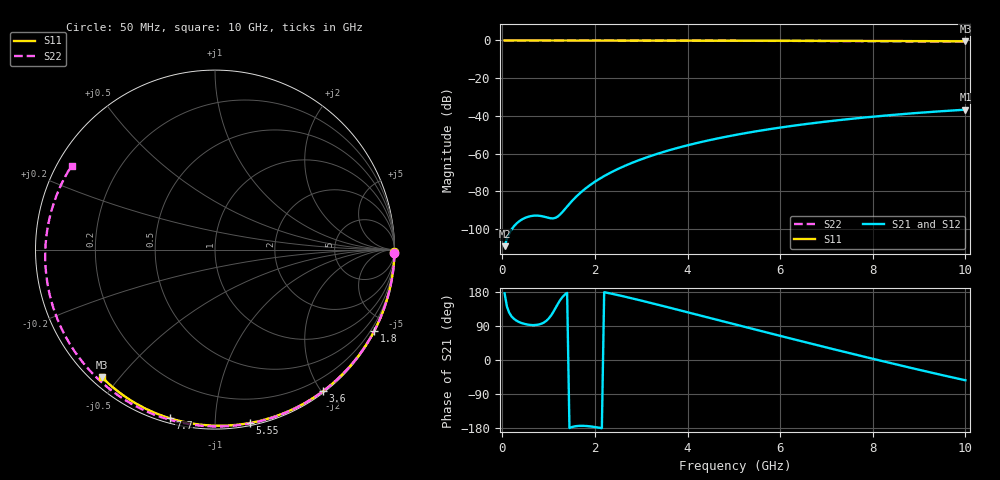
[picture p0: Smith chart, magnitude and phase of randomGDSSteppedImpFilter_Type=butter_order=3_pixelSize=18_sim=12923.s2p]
! freq	dB(S11)	phase(S11)	dB(S12)	phase(S12)
!  dB(S21)	phase(S21)	dB(S22)	phase(S22)
!S-par simulation data
#  GHz  S  DB  R 50
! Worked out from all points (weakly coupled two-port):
!   200 points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, 50 MHz to 10 GHz, reference 50 ohm
!   highest |S21| = -36.70 dB at 10 GHz (marker M1); lowest = -109.1 dB at 50 MHz (marker M2)
!   lowest |S11| = -0.4 dB at 10 GHz (marker M3), VSWR 39.01, Z = 1.54 - j22.5 ohm
!   |S11| at or under -10 dB: nowhere
!   |S22| runs from -0.7 to 0.0 dB; largest |S21 - S12| = 0
!   S11 on the Smith chart (normalised r, x): 50 MHz: open; 1.8 GHz: 0.04, -4.18; 3.6 GHz: 0.02, -2.02; 5.55 GHz: 0.02, -1.22; 7.7 GHz: 0.02, -0.77; 10 GHz: 0.03, -0.45
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0.05  -0.00 -0.8  -109.08 175.9  -109.08 175.9  -0.00 -1.1
0.45  -0.01 -6.8  -94.57 96.2  -94.57 96.2  -0.01 -10.0
0.85  -0.02 -12.8  -93.14 95.9  -93.14 95.9  -0.02 -18.8
1.7  -0.03 -25.5  -80.48 -173.7  -80.48 -173.7  -0.05 -37.3
1.75  -0.03 -26.2  -79.44 -173.8  -79.44 -173.8  -0.05 -38.3
1.8  -0.03 -26.9  -78.45 -174.1  -78.45 -174.1  -0.05 -39.4
2.1  -0.04 -31.3  -73.36 -178.8  -73.36 -178.8  -0.06 -45.8
2.5  -0.05 -37.1  -68.11 171.2  -68.11 171.2  -0.07 -54.2
2.9  -0.06 -42.8  -63.94 159.8  -63.94 159.8  -0.08 -62.5
3.4  -0.07 -49.9  -59.71 144.6  -59.71 144.6  -0.10 -72.7
3.6  -0.07 -52.7  -58.24 138.5  -58.24 138.5  -0.10 -76.7
4.3  -0.09 -62.2  -53.82 116.6  -53.82 116.6  -0.13 -90.7
5.05  -0.11 -72.2  -50.02 93.2  -50.02 93.2  -0.16 -105.3
5.55  -0.13 -78.7  -47.89 77.6  -47.89 77.6  -0.19 -114.9
6.1  -0.15 -85.6  -45.84 60.6  -45.84 60.6  -0.23 -125.5
6.7  -0.18 -93.1  -43.88 42.2  -43.88 42.2  -0.27 -137.2
7.7  -0.24 -105.1  -41.14 12.1  -41.14 12.1  -0.36 -157.2
8.35  -0.29 -112.7  -39.66 -7.1  -39.66 -7.1  -0.44 -170.9
8.8  -0.33 -117.8  -38.74 -20.1  -38.74 -20.1  -0.49 179.1
9.2  -0.36 -122.4  -38.00 -31.5  -38.00 -31.5  -0.55 169.8
9.6  -0.40 -126.9  -37.32 -42.7  -37.32 -42.7  -0.61 160.0
10  -0.45 -131.4  -36.70 -53.5  -36.70 -53.5  -0.67 149.6
